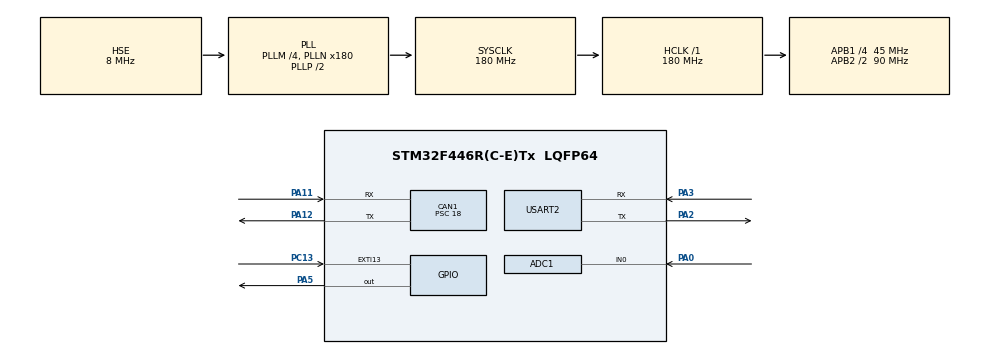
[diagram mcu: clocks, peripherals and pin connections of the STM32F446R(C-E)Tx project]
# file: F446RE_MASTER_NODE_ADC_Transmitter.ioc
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ADC1.Channel-0\#ChannelRegularConversion=ADC_CHANNEL_0
ADC1.NbrOfConversionFlag=1
ADC1.Rank-0\#ChannelRegularConversion=1
ADC1.SamplingTime-0\#ChannelRegularConversion=ADC_SAMPLETIME_3CYCLES
ADC1.master=1
CAN1.BS1=CAN_BS1_2TQ
CAN1.BS2=CAN_BS2_2TQ
CAN1.CalculateBaudRate=500000
CAN1.CalculateTimeBit=2000
CAN1.CalculateTimeQuantum=400.0
CAN1.Prescaler=18
Mcu.Family=STM32F4
Mcu.Name=STM32F446R(C-E)Tx
Mcu.Package=LQFP64
NVIC.PriorityGroup=NVIC_PRIORITYGROUP_0
PA0-WKUP.Signal=ADCx_IN0
PA11.Mode=CAN_Activate
PA11.Signal=CAN1_RX
PA12.Mode=CAN_Activate
PA12.Signal=CAN1_TX
PA2.Mode=Asynchronous
PA2.Signal=USART2_TX
PA3.Mode=Asynchronous
PA3.Signal=USART2_RX
PA5.Signal=GPIO_Output
PC13.Signal=GPXTI13
PH0-OSC_IN.Mode=HSE-External-Oscillator
PH0-OSC_IN.Signal=RCC_OSC_IN
PH1-OSC_OUT.Mode=HSE-External-Oscillator
PH1-OSC_OUT.Signal=RCC_OSC_OUT
ProjectManager.HeapSize=0x200
ProjectManager.StackSize=0x400
ProjectManager.TargetToolchain=STM32CubeIDE
RCC.48MHZClocksFreq_Value=84000000
RCC.AHBFreq_Value=180000000
RCC.APB1CLKDivider=RCC_HCLK_DIV4
RCC.APB1Freq_Value=45000000
RCC.APB1TimFreq_Value=90000000
RCC.APB2CLKDivider=RCC_HCLK_DIV2
RCC.APB2Freq_Value=90000000
RCC.APB2TimFreq_Value=180000000
RCC.CortexFreq_Value=180000000
RCC.FLatency-AdvancedSettings=FLASH_LATENCY_5
RCC.HCLKFreq_Value=180000000
RCC.HSE_VALUE=8000000
RCC.HSI_VALUE=16000000
RCC.PLLM=4
RCC.PLLN=180
RCC.PLLSourceVirtual=RCC_PLLSOURCE_HSE
RCC.SYSCLKFreq_VALUE=180000000
RCC.SYSCLKSource=RCC_SYSCLKSOURCE_PLLCLK
RCC.USBFreq_Value=180000000
RCC.VCOOutputFreq_Value=360000000
SH.ADCx_IN0.0=ADC1_IN0,IN0
USART2.VirtualMode=VM_ASYNC
board=NUCLEO-F446RE

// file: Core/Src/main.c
/* USER CODE BEGIN Header */
/**
  ******************************************************************************
  * @file           : main.c
  * @brief          : Main program body
  ******************************************************************************
  * @attention
  *
  * Copyright (c) 2024 STMicroelectronics.
  * All rights reserved.
  *
  * This software is licensed under terms that can be found in the LICENSE file
  * in the root directory of this software component.
  * If no LICENSE file comes with this software, it is provided AS-IS.
  *
  ******************************************************************************
  */
/* USER CODE END Header */
#include "main.h"

/* USER CODE BEGIN Includes */
#include <stdio.h>
#include <string.h>
/* USER CODE END Includes */

ADC_HandleTypeDef hadc1;

CAN_HandleTypeDef hcan1;

UART_HandleTypeDef huart2;

/* USER CODE BEGIN PV */

CAN_TxHeaderTypeDef TxHeader;

uint8_t TxData[8];

uint32_t Txmailbox;

uint16_t adc_value = 0;
uint16_t converted = 0;
/* USER CODE END PV */

void SystemClock_Config(void);
static void MX_GPIO_Init(void);
static void MX_USART2_UART_Init(void);
static void MX_CAN1_Init(void);
static void MX_ADC1_Init(void);
/* USER CODE BEGIN PFP */

void ADC_ChannelSelect( uint16_t channel );
uint16_t ADC_Read(uint16_t channel );

/* USER CODE END PFP */

int main(void)
{

  /* MCU Configuration--------------------------------------------------------*/

  /* Reset of all peripherals, Initializes the Flash interface and the Systick. */
  HAL_Init();

  /* Configure the system clock */
  SystemClock_Config();

  /* Initialize all configured peripherals */
  MX_GPIO_Init();
  MX_USART2_UART_Init();
  MX_CAN1_Init();
  MX_ADC1_Init();
  /* USER CODE BEGIN 2 */

  HAL_CAN_Start(&hcan1);

  TxHeader.DLC = 2;
  TxHeader.IDE = CAN_ID_STD;
  TxHeader.RTR = CAN_RTR_DATA;
  TxHeader.StdId = 0x123;

  /* USER CODE END 2 */

  /* Infinite loop */
  /* USER CODE BEGIN WHILE */
  while (1)
  {
	  adc_value = ADC_Read(ADC_CHANNEL_0);
	  HAL_Delay(200);

	  TxData[0] = (adc_value & 0xFF);
	  TxData[1] = ((adc_value >> 8) & 0xFF);

	  if(HAL_CAN_AddTxMessage(&hcan1, &TxHeader, TxData, &Txmailbox) != HAL_OK)
	  {
		  Error_Handler();
	  }
	  HAL_Delay(200);
    /* USER CODE END WHILE */

  }
}

void SystemClock_Config(void)
{
  RCC_OscInitTypeDef RCC_OscInitStruct = {0};
  RCC_ClkInitTypeDef RCC_ClkInitStruct = {0};

  /** Configure the main internal regulator output voltage
  */
  __HAL_RCC_PWR_CLK_ENABLE();
  __HAL_PWR_VOLTAGESCALING_CONFIG(PWR_REGULATOR_VOLTAGE_SCALE1);

  /** Initializes the RCC Oscillators according to the specified parameters
  * in the RCC_OscInitTypeDef structure.
  */
  RCC_OscInitStruct.OscillatorType = RCC_OSCILLATORTYPE_HSE;
  RCC_OscInitStruct.HSEState = RCC_HSE_ON;
  RCC_OscInitStruct.PLL.PLLState = RCC_PLL_ON;
  RCC_OscInitStruct.PLL.PLLSource = RCC_PLLSOURCE_HSE;
  RCC_OscInitStruct.PLL.PLLM = 4;
  RCC_OscInitStruct.PLL.PLLN = 180;
  RCC_OscInitStruct.PLL.PLLP = RCC_PLLP_DIV2;
  RCC_OscInitStruct.PLL.PLLQ = 2;
  RCC_OscInitStruct.PLL.PLLR = 2;
  if (HAL_RCC_OscConfig(&RCC_OscInitStruct) != HAL_OK)
  {
    Error_Handler();
  }

  /** Activate the Over-Drive mode
  */
  if (HAL_PWREx_EnableOverDrive() != HAL_OK)
  {
    Error_Handler();
  }

  /** Initializes the CPU, AHB and APB buses clocks
  */
  RCC_ClkInitStruct.ClockType = RCC_CLOCKTYPE_HCLK|RCC_CLOCKTYPE_SYSCLK
                              |RCC_CLOCKTYPE_PCLK1|RCC_CLOCKTYPE_PCLK2;
  RCC_ClkInitStruct.SYSCLKSource = RCC_SYSCLKSOURCE_PLLCLK;
  RCC_ClkInitStruct.AHBCLKDivider = RCC_SYSCLK_DIV1;
  RCC_ClkInitStruct.APB1CLKDivider = RCC_HCLK_DIV4;
  RCC_ClkInitStruct.APB2CLKDivider = RCC_HCLK_DIV2;

  if (HAL_RCC_ClockConfig(&RCC_ClkInitStruct, FLASH_LATENCY_5) != HAL_OK)
  {
    Error_Handler();
  }
}

static void MX_ADC1_Init(void)
{

  /** Configure the global features of the ADC (Clock, Resolution, Data Alignment and number of conversion)
  */
  hadc1.Instance = ADC1;
  hadc1.Init.ClockPrescaler = ADC_CLOCK_SYNC_PCLK_DIV4;
  hadc1.Init.Resolution = ADC_RESOLUTION_12B;
  hadc1.Init.ScanConvMode = DISABLE;
  hadc1.Init.ContinuousConvMode = DISABLE;
  hadc1.Init.DiscontinuousConvMode = DISABLE;
  hadc1.Init.ExternalTrigConvEdge = ADC_EXTERNALTRIGCONVEDGE_NONE;
  hadc1.Init.ExternalTrigConv = ADC_SOFTWARE_START;
  hadc1.Init.DataAlign = ADC_DATAALIGN_RIGHT;
  hadc1.Init.NbrOfConversion = 1;
  hadc1.Init.DMAContinuousRequests = DISABLE;
  hadc1.Init.EOCSelection = ADC_EOC_SINGLE_CONV;
  if (HAL_ADC_Init(&hadc1) != HAL_OK)
  {
    Error_Handler();
  }

  /** Configure for the selected ADC regular channel its corresponding rank in the sequencer and its sample time.
  */
//  sConfig.Channel = ADC_CHANNEL_0;
//  sConfig.Rank = 1;
//  sConfig.SamplingTime = ADC_SAMPLETIME_3CYCLES;
//  if (HAL_ADC_ConfigChannel(&hadc1, &sConfig) != HAL_OK)
//  {
//    Error_Handler();
//  }

}

static void MX_CAN1_Init(void)
{

  hcan1.Instance = CAN1;
  hcan1.Init.Prescaler = 18;
  hcan1.Init.Mode = CAN_MODE_NORMAL;
  hcan1.Init.SyncJumpWidth = CAN_SJW_1TQ;
  hcan1.Init.TimeSeg1 = CAN_BS1_2TQ;
  hcan1.Init.TimeSeg2 = CAN_BS2_2TQ;
  hcan1.Init.TimeTriggeredMode = DISABLE;
  hcan1.Init.AutoBusOff = DISABLE;
  hcan1.Init.AutoWakeUp = DISABLE;
  hcan1.Init.AutoRetransmission = DISABLE;
  hcan1.Init.ReceiveFifoLocked = DISABLE;
  hcan1.Init.TransmitFifoPriority = DISABLE;
  if (HAL_CAN_Init(&hcan1) != HAL_OK)
  {
    Error_Handler();
  }

}

static void MX_USART2_UART_Init(void)
{

  huart2.Instance = USART2;
  huart2.Init.BaudRate = 115200;
  huart2.Init.WordLength = UART_WORDLENGTH_8B;
  huart2.Init.StopBits = UART_STOPBITS_1;
  huart2.Init.Parity = UART_PARITY_NONE;
  huart2.Init.Mode = UART_MODE_TX_RX;
  huart2.Init.HwFlowCtl = UART_HWCONTROL_NONE;
  huart2.Init.OverSampling = UART_OVERSAMPLING_16;
  if (HAL_UART_Init(&huart2) != HAL_OK)
  {
    Error_Handler();
  }

}

static void MX_GPIO_Init(void)
{
  GPIO_InitTypeDef GPIO_InitStruct = {0};

  /* GPIO Ports Clock Enable */
  __HAL_RCC_GPIOC_CLK_ENABLE();
  __HAL_RCC_GPIOH_CLK_ENABLE();
  __HAL_RCC_GPIOA_CLK_ENABLE();

  /*Configure GPIO pin Output Level */
  HAL_GPIO_WritePin(GPIOA, GPIO_PIN_5, GPIO_PIN_RESET);

  /*Configure GPIO pin : PC13 */
  GPIO_InitStruct.Pin = GPIO_PIN_13;
  GPIO_InitStruct.Mode = GPIO_MODE_IT_RISING;
  GPIO_InitStruct.Pull = GPIO_NOPULL;
  HAL_GPIO_Init(GPIOC, &GPIO_InitStruct);

  /*Configure GPIO pin : PA5 */
  GPIO_InitStruct.Pin = GPIO_PIN_5;
  GPIO_InitStruct.Mode = GPIO_MODE_OUTPUT_PP;
  GPIO_InitStruct.Pull = GPIO_NOPULL;
  GPIO_InitStruct.Speed = GPIO_SPEED_FREQ_LOW;
  HAL_GPIO_Init(GPIOA, &GPIO_InitStruct);

}

/* USER CODE BEGIN 4 */
void ADC_ChannelSelect( uint16_t channel )
{
	ADC_ChannelConfTypeDef sConfig = {0};

	sConfig.Channel = channel;
	sConfig.Rank = 1;
	sConfig.SamplingTime = ADC_SAMPLETIME_3CYCLES;
	if (HAL_ADC_ConfigChannel(&hadc1, &sConfig) != HAL_OK)
	{
		Error_Handler();
	}
}
uint16_t ADC_Read(uint16_t channel )
{
	uint16_t adc = 0;
	ADC_ChannelSelect(channel);

	HAL_ADC_Start(&hadc1);

	if(HAL_ADC_PollForConversion(&hadc1, HAL_MAX_DELAY) == HAL_OK)
	{
		adc = HAL_ADC_GetValue(&hadc1);
	}
	HAL_ADC_Stop(&hadc1);

	return adc;
}
/* USER CODE END 4 */

void Error_Handler(void)
{
  __disable_irq();
  while (1)
  {
  }
}
